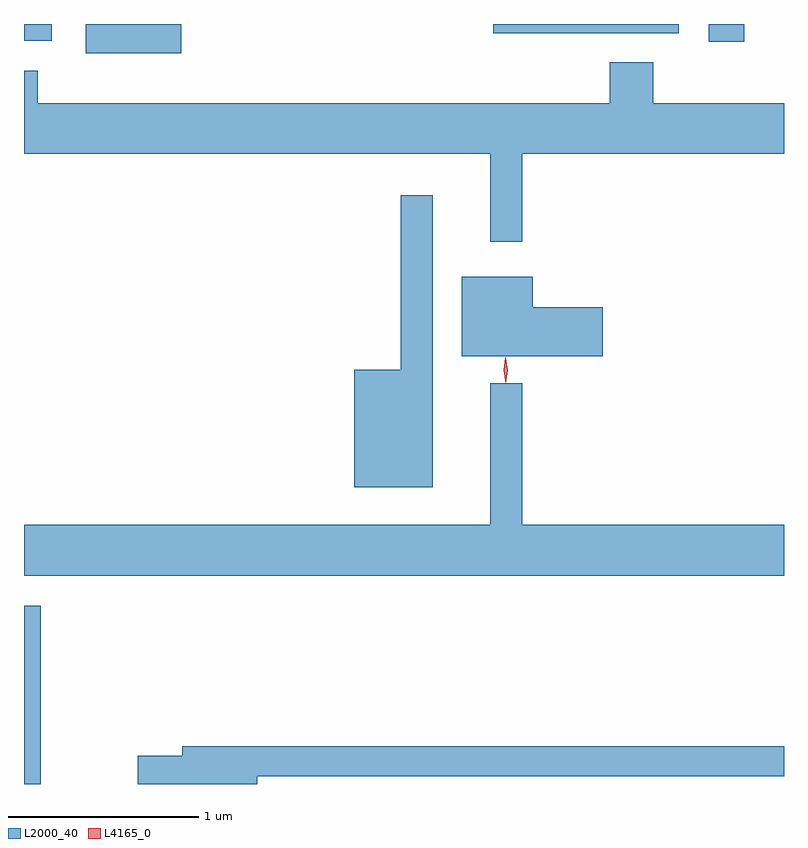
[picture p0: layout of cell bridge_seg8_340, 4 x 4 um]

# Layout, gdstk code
import gdstk
lib = gdstk.Library(unit=1e-6, precision=1e-09)
def R(c, l, rs):  # rectangles x0, y0, x1, y1
    for r in rs: c.add(gdstk.rectangle(r[:2], r[2:], *l))
def P(c, l, *ps):  # polygons
    for p in ps: c.add(gdstk.Polygon(p, *l))
L2000_40 = (2000, 40)
L4165_0 = (4165, 0)

bridge_seg8_340 = lib.new_cell('bridge_seg8_340')
R(bridge_seg8_340, L2000_40, [(625.367,1913.02,625.454,1913.959), (625.693,1916.866,626.194,1917.02), (628.971,1916.926,629.159,1917.02), (625.367,1916.931,625.514,1917.02), (627.836,1916.971,628.814,1917.02)])
P(bridge_seg8_340, L2000_40, [(627.989,1916.336),(629.367,1916.336),(629.367,1916.604),(628.679,1916.604),(628.679,1916.819),(628.451,1916.819),(628.451,1916.604),(625.439,1916.604),(625.439,1916.774),(625.367,1916.774),(625.367,1916.336),(627.821,1916.336),(627.821,1915.873),(627.989,1915.873)],
  [(627.519,1916.118),(627.351,1916.118),(627.351,1915.199),(627.106,1915.199),(627.106,1914.581),(627.519,1914.581)],
  [(628.414,1915.529),(628.044,1915.529),(628.044,1915.689),(627.671,1915.689),(627.671,1915.271),(628.414,1915.271)],
  [(629.367,1914.384),(627.989,1914.384),(627.989,1915.128),(627.821,1915.128),(627.821,1914.384),(625.367,1914.384),(625.367,1914.116),(629.367,1914.116)],
  [(626.594,1913.061),(629.367,1913.061),(629.367,1913.219),(626.201,1913.219),(626.201,1913.169),(625.966,1913.169),(625.966,1913.02),(626.594,1913.02)])
P(bridge_seg8_340, L4165_0, [(627.902,1915.13),(627.902,1915.13),(627.892,1915.197),(627.901,1915.264),(627.902,1915.265),(627.902,1915.264),(627.912,1915.197),(627.903,1915.13)],
  [(627.902,1915.133),(627.902,1915.134),(627.892,1915.196),(627.901,1915.258),(627.902,1915.258),(627.902,1915.258),(627.912,1915.196),(627.903,1915.134)])

lib.write_gds('bridge_seg8_340.gds')
